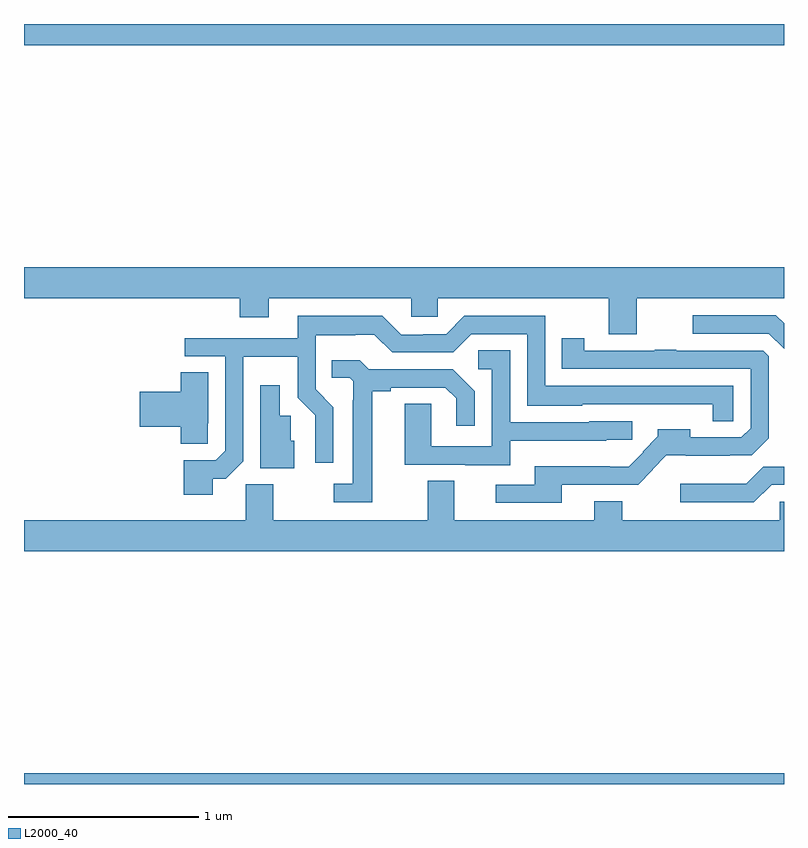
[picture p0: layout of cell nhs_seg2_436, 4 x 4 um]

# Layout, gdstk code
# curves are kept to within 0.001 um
import gdstk
lib = gdstk.Library(unit=1e-6, precision=1e-09)
def R(c, l, rs):  # rectangles x0, y0, x1, y1
    for r in rs: c.add(gdstk.rectangle(r[:2], r[2:], *l))
def P(c, l, *ps):  # polygons
    for p in ps: c.add(gdstk.Polygon(p, *l))
L2000_40 = (2000, 40)

nhs_seg2_436 = lib.new_cell('nhs_seg2_436')
R(nhs_seg2_436, L2000_40, [(133,591.8,137,591.856), (133,595.688,137,595.8)])
P(nhs_seg2_436, L2000_40, [(136.225,594.356),(137,594.356),(137,594.52),(133,594.52),(133,594.356),(134.135,594.356),(134.135,594.257),(134.287,594.257),(134.287,594.356),(135.039,594.356),(135.039,594.258),(135.177,594.258),(135.177,594.356),(136.078,594.356),(136.078,594.166),(136.225,594.166)],
  [(137,594.224),(136.957,594.267),(136.521,594.267),(136.521,594.171),(136.92,594.171),(137,594.091)],
  [(133.993,593.407),(134.061,593.407),(134.154,593.499),(134.154,594.05),(134.442,594.05),(134.442,593.834),(134.534,593.742),(134.534,593.49),(134.628,593.49),(134.628,593.784),(134.535,593.877),(134.535,594.161),(134.744,594.161),(134.744,594.165),(134.844,594.165),(134.937,594.072),(135.258,594.072),(135.354,594.168),(135.648,594.168),(135.648,593.792),(135.939,593.792),(135.939,593.799),(136.626,593.798),(136.626,593.71),(136.734,593.71),(136.734,593.895),(135.744,593.895),(135.744,594.264),(135.318,594.264),(135.222,594.168),(135.102,594.168),(135.102,594.165),(134.985,594.165),(134.885,594.265),(134.441,594.265),(134.441,594.147),(133.845,594.147),(133.845,594.051),(134.058,594.051),(134.058,593.553),(134.01,593.505),(133.841,593.505),(133.841,593.322),(133.993,593.322)],
  [(135.829,593.376),(136.233,593.376),(136.309,593.453),(136.307,593.455),(136.381,593.529),(136.715,593.528),(136.715,593.53),(136.831,593.53),(136.92,593.619),(136.92,594.051),(136.89,594.081),(136.433,594.081),(136.433,594.086),(136.321,594.086),(136.321,594.081),(135.948,594.081),(135.948,594.145),(135.829,594.145),(135.829,593.985),(136.824,593.985),(136.824,593.673),(136.776,593.625),(136.507,593.625),(136.507,593.668),(136.336,593.668),(136.336,593.629),(136.257,593.55),(136.26,593.547),(136.184,593.471),(136.082,593.471),(136.082,593.473),(135.689,593.473),(135.689,593.376),(135.483,593.376),(135.483,593.28),(135.829,593.28)],
  [(135.559,593.606),(136.065,593.606),(136.065,593.613),(136.2,593.613),(136.2,593.709),(135.975,593.709),(135.975,593.703),(135.558,593.703),(135.558,594.083),(135.39,594.083),(135.39,593.982),(135.462,593.982),(135.462,593.577),(135.144,593.577),(135.144,593.801),(135.005,593.801),(135.005,593.481),(135.323,593.481),(135.323,593.477),(135.559,593.477)],
  [(134.833,593.866),(134.929,593.866),(134.929,593.886),(135.218,593.886),(135.275,593.829),(135.275,593.685),(135.372,593.685),(135.372,593.866),(135.256,593.982),(134.814,593.982),(134.766,594.029),(134.62,594.029),(134.62,593.937),(134.715,593.937),(134.733,593.919),(134.733,593.819),(134.729,593.819),(134.729,593.379),(134.631,593.379),(134.631,593.283),(134.833,593.283)],
  [(133.968,593.698),(133.969,593.698),(133.969,593.966),(133.826,593.966),(133.826,593.864),(133.608,593.864),(133.608,593.681),(133.826,593.681),(133.826,593.59),(133.968,593.59)],
  [(134.422,593.607),(134.403,593.607),(134.403,593.739),(134.347,593.739),(134.347,593.899),(134.243,593.899),(134.243,593.462),(134.422,593.462)],
  [(136.935,593.376),(137,593.376),(137,593.471),(136.892,593.471),(136.801,593.38),(136.455,593.38),(136.455,593.283),(136.842,593.283)],
  [(137,593.286),(136.977,593.286),(136.977,593.188),(136.149,593.188),(136.149,593.287),(136.001,593.287),(136.001,593.188),(135.265,593.188),(135.265,593.396),(135.125,593.396),(135.125,593.188),(134.313,593.188),(134.313,593.377),(134.166,593.377),(134.166,593.188),(133,593.188),(133,593.024),(137,593.024)])

lib.write_gds('nhs_seg2_436.gds')
